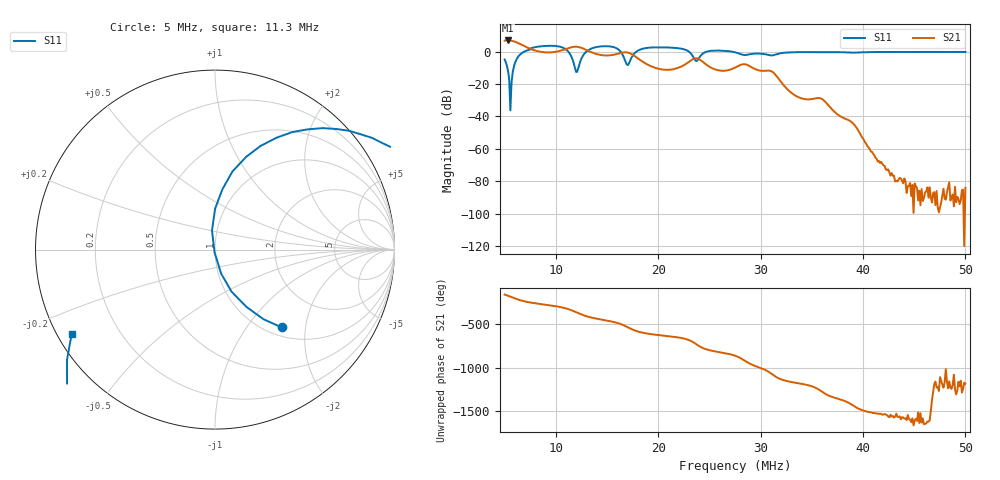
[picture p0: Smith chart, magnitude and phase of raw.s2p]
! S11/S21 only; reverse parameters are placeholders. Device calibration unverified.
! NanoVNA F V2 profile | COM3 | 2026-09-08T12:32:59.3931739-04:00 | device calibration unverified
# HZ S RI R 50
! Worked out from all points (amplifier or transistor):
!   401 points, 5 MHz to 50 MHz, reference 50 ohm
!   highest |S21| = 6.9 dB at 5.338 MHz (marker M1)
!   |S21| within 3 dB of that: start of sweep to 6.77 MHz
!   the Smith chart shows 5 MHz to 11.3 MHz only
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5000000  0.3724 -0.434  -2.033 -0.7897  0 0  0 0
5337500  0.092 -0.2341  -2.192 -0.2805  0 0  0 0
6237500  0.2542 0.5779  -1.587 1.023  0 0  0 0
7025000  0.8136 0.6418  -0.7386 1.221  0 0  0 0
7250000  0.9261 0.5964  -0.5699 1.193  0 0  0 0
7812500  0.5044 -1.235  -0.2703 1.089  0 0  0 0
8937500  0.1168 -1.487  0.0769 0.9467  0 0  0 0
1.11875e7  -0.8243 -0.6116  1.035 0.7321  0 0  0 0
1.25375e7  0.642 0.076  1.131 -0.6334  0 0  0 0
1.36625e7  1.041 -0.7861  0.34 -0.8427  0 0  0 0
1.52375e7  0.4695 -1.376  -0.1684 -0.7476  0 0  0 0
1.65875e7  -0.578 -0.4453  -0.8112 -0.4781  0 0  0 0
1.74875e7  0.505 0.5262  -0.7616 0.2807  0 0  0 0
1.83875e7  1.204 0.061  -0.2983 0.4161  0 0  0 0
2.0075e7  1.262 -0.5152  -0.0302 0.2913  0 0  0 0
2.26625e7  0.7751 -0.8388  0.2535 0.3202  0 0  0 0
2.3675e7  0.4125 -0.3113  0.6201 -0.0565  0 0  0 0
2.75e7  0.7704 -0.5635  -0.247 -0.2054  0 0  0 0
2.91875e7  0.7606 -0.3921  -0.1345 0.2918  0 0  0 0
3.50375e7  0.6992 -0.6672  -0.0234 -0.0252  0 0  0 0
4.2575e7  0.4441 -0.8684  -0.000114 -0.000147  0 0  0 0
5e7  0.1591 -0.9632  -1.4e-05 -6.2e-05  0 0  0 0
